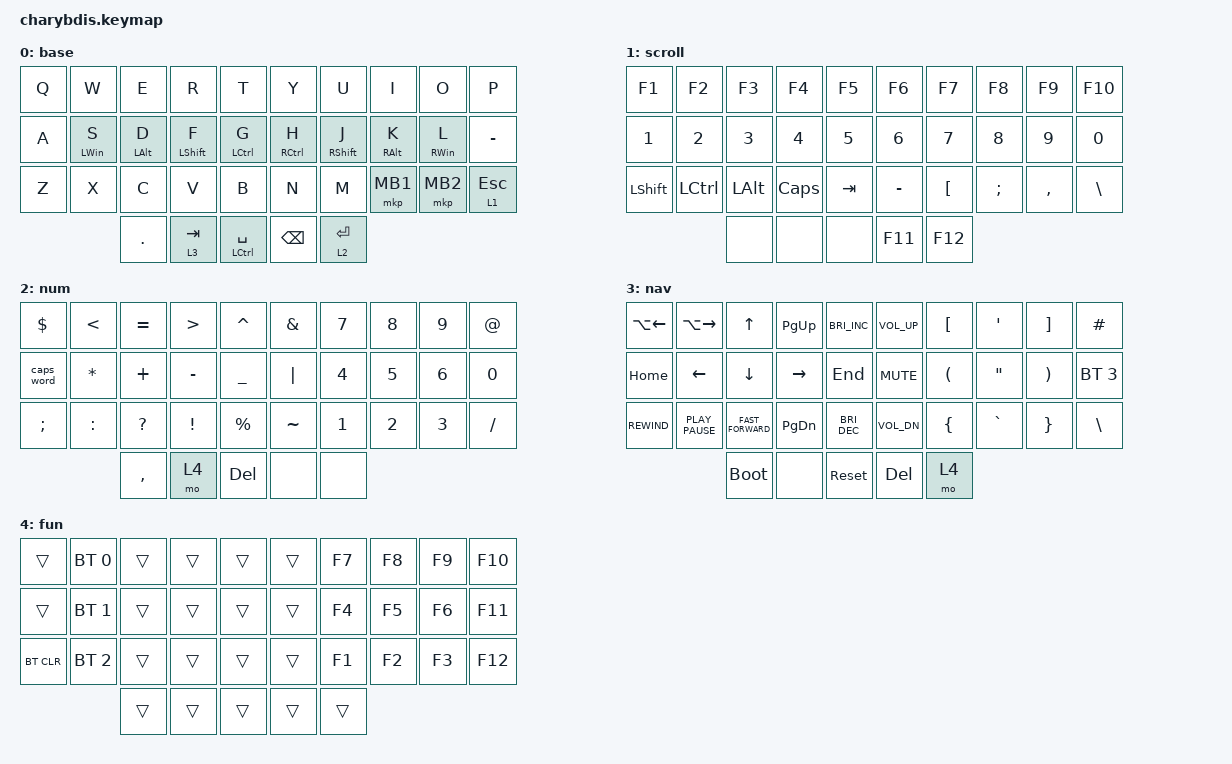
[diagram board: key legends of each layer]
#include <behaviors.dtsi>
#include <dt-bindings/zmk/bt.h>
#include <dt-bindings/zmk/keys.h>
#include <dt-bindings/zmk/pointing.h>
#include <dt-bindings/zmk/rgb.h>

&lt {
    tapping-term-ms = <175>;
    flavor = "balanced";
    quick-tap-ms = <200>;
};

&mt {
    tapping-term-ms = <230>;
    quick-tap-ms = <200>;
    require-prior-idle-ms = <150>;
    flavor = "tap-preferred";
};

/ {
    macros {
        To1_macro: To1_macro {
            compatible = "zmk,behavior-macro";
            label = "To1_macro";
            #binding-cells = <0>;
            bindings = <&rgb_ug RGB_EFF &rgb_ug RGB_COLOR_HSB(128,100,50) &to 1>;
        };

        To0_macro: To0_macro {
            compatible = "zmk,behavior-macro";
            label = "To0_macro";
            #binding-cells = <0>;
            bindings = <&rgb_ug RGB_EFR &to 0>;
        };

        To2_macro: To2_macro {
            compatible = "zmk,behavior-macro";
            label = "To2_macro";
            #binding-cells = <0>;
            bindings =
                <&to 0>,
                <&macro_wait_time 30>,
                <&rgb_ug RGB_COLOR_HSB(250,100,50)>;
        };

        paren: paren {
            compatible = "zmk,behavior-macro";
            #binding-cells = <0>;
            bindings = <&none &kp LPAR &kp RPAR>;
            label = "PAREN";
        };
    };

    combos {
        compatible = "zmk,combos";

        paren {
            bindings = <&paren>;
            key-positions = <31 34>;
        };

        tab {
            bindings = <&kp TAB>;
            key-positions = <21 22>;
        };

        c-spc {
            bindings = <&kp LC(SPACE)>;
            key-positions = <13 12>;
        };

        esc {
            bindings = <&kp ESCAPE>;
            key-positions = <1 2>;
        };
    };

    keymap {
        compatible = "zmk,keymap";

        base {
            bindings = <
&kp Q  &kp W       &kp E           &kp R        &kp T              &kp Y          &kp U         &kp I            &kp O       &kp P
&kp A  &mt LWIN S  &mt LEFT_ALT D  &mt LSHFT F  &mt LCTRL G        &mt RCTRL H    &mt RSHIFT J  &mt RIGHT_ALT K  &mt RWIN L  &kp MINUS
&kp Z  &kp X       &kp C           &kp V        &kp B              &kp N          &kp M         &mkp MB1         &mkp MB2    &lt 1 ESCAPE
                   &kp DOT         &lt 3 TAB    &mt LCTRL SPACE    &kp BACKSPACE  &lt 2 ENTER
            >;
        };

        scroll {
            bindings = <
&kp F1          &kp F2     &kp F3        &kp F4    &kp F5     &kp F6     &kp F7            &kp F8         &kp F9     &kp F10
&kp N1          &kp N2     &kp N3        &kp N4    &kp N5     &kp N6     &kp N7            &kp N8         &kp N9     &kp N0
&kp LEFT_SHIFT  &kp LCTRL  &kp LEFT_ALT  &kp CAPS  &kp TAB    &kp MINUS  &kp LEFT_BRACKET  &kp SEMICOLON  &kp COMMA  &kp BACKSLASH
                           &none         &none     &none      &kp F11    &kp F12
            >;
        };

        num {
            bindings = <
&kp DOLLAR  &kp LT     &kp EQUAL     &kp GT     &kp CARET      &kp AMPS   &kp N7  &kp N8  &kp N9  &kp AT
&caps_word  &kp STAR   &kp PLUS      &kp MINUS  &kp UNDER      &kp PIPE   &kp N4  &kp N5  &kp N6  &kp N0
&kp SEMI    &kp COLON  &kp QUESTION  &kp EXCL   &kp PERCENT    &kp TILDE  &kp N1  &kp N2  &kp N3  &kp SLASH
                       &kp COMMA     &mo 4      &kp DELETE     &none      &none
            >;
        };

        nav {
            bindings = <
&kp LA(LEFT)  &kp LA(RIGHT)     &kp UP_ARROW        &kp PAGE_UP  &kp C_BRIGHTNESS_INC    &kp C_VOLUME_UP  &kp LBKT        &kp SINGLE_QUOTE   &kp RBKT  &kp HASH
&kp HOME      &kp LEFT_ARROW    &kp DOWN            &kp RIGHT    &kp END                 &kp K_MUTE       &kp LPAR        &kp DOUBLE_QUOTES  &kp RPAR  &bt BT_SEL 3
&kp C_REWIND  &kp K_PLAY_PAUSE  &kp C_FAST_FORWARD  &kp PG_DN    &kp C_BRI_DEC           &kp C_VOL_DN     &kp LEFT_BRACE  &kp GRAVE          &kp RBRC  &kp BACKSLASH
                                &bootloader         &none        &sys_reset              &kp DELETE       &mo 4
            >;
        };

        fun {
            bindings = <
&trans      &bt BT_SEL 0  &trans  &trans  &trans    &trans  &kp F7  &kp F8  &kp F9  &kp F10
&trans      &bt BT_SEL 1  &trans  &trans  &trans    &trans  &kp F4  &kp F5  &kp F6  &kp F11
&bt BT_CLR  &bt BT_SEL 2  &trans  &trans  &trans    &trans  &kp F1  &kp F2  &kp F3  &kp F12
                          &trans  &trans  &trans    &trans  &trans
            >;
        };
    };
};
